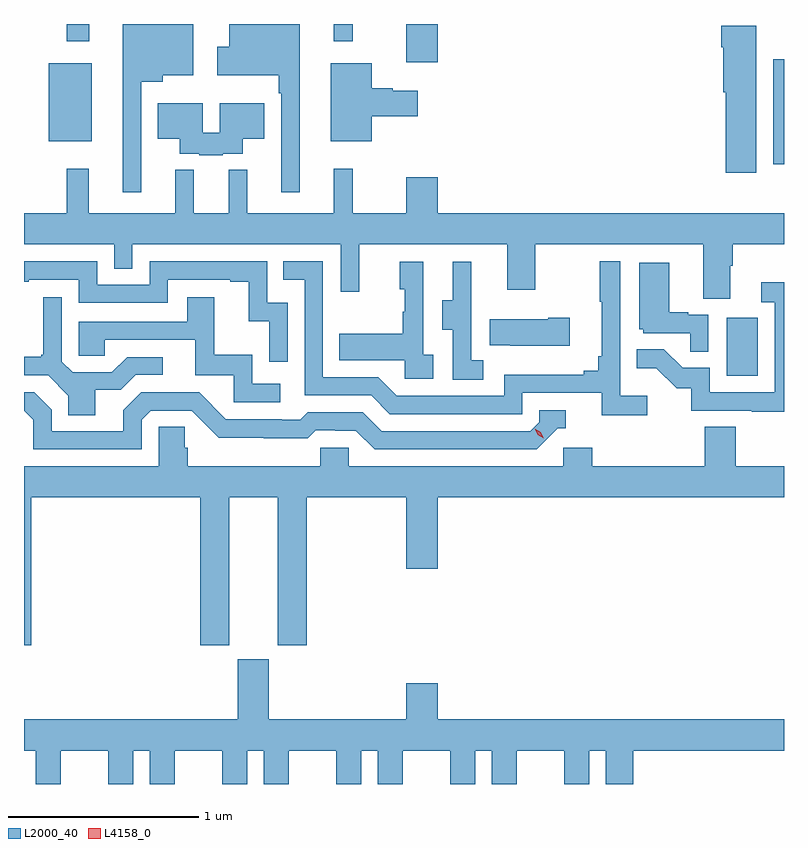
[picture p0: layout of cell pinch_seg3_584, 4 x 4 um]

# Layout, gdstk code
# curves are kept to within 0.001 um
import gdstk
lib = gdstk.Library(unit=1e-6, precision=1e-09)
def R(c, l, rs):  # rectangles x0, y0, x1, y1
    for r in rs: c.add(gdstk.rectangle(r[:2], r[2:], *l))
def P(c, l, *ps):  # polygons
    for p in ps: c.add(gdstk.Polygon(p, *l))
L2000_40 = (2000, 40)
L4158_0 = (4158, 0)

pinch_seg3_584 = lib.new_cell('pinch_seg3_584')
R(pinch_seg3_584, L2000_40, [(1065.794,696.228,1065.958,696.535), (1066.038,697.342,1066.095,697.894), (1062.224,697.463,1062.451,697.873), (1064.108,697.878,1064.272,698.08), (1062.319,697.989,1062.438,698.08), (1063.724,697.989,1063.826,698.08)])
P(pinch_seg3_584, L2000_40, [(1062.711,697.775),(1062.826,697.775),(1062.826,697.811),(1062.985,697.811),(1062.985,698.08),(1062.614,698.08),(1062.614,697.194),(1062.711,697.194)],
  [(1063.546,698.08),(1063.175,698.08),(1063.175,697.959),(1063.112,697.959),(1063.112,697.811),(1063.437,697.811),(1063.437,697.715),(1063.449,697.715),(1063.449,697.194),(1063.546,697.194)],
  [(1065.949,698.071),(1065.764,698.071),(1065.764,697.958),(1065.776,697.958),(1065.776,697.722),(1065.788,697.722),(1065.788,697.296),(1065.949,697.296)],
  [(1063.924,697.595),(1064.167,697.595),(1064.167,697.729),(1064.037,697.729),(1064.037,697.742),(1063.924,697.742),(1063.924,697.873),(1063.709,697.873),(1063.709,697.463),(1063.924,697.463)],
  [(1063.142,697.398),(1063.246,697.398),(1063.246,697.475),(1063.36,697.475),(1063.36,697.663),(1063.124,697.663),(1063.124,697.507),(1063.036,697.507),(1063.036,697.663),(1062.8,697.663),(1062.8,697.475),(1062.914,697.475),(1062.914,697.398),(1063.018,697.398),(1063.018,697.388),(1063.142,697.388)],
  [(1064.272,697.273),(1064.108,697.273),(1064.108,697.084),(1063.826,697.084),(1063.826,697.318),(1063.724,697.318),(1063.724,697.084),(1063.271,697.084),(1063.271,697.313),(1063.172,697.313),(1063.172,697.084),(1062.988,697.084),(1062.988,697.313),(1062.89,697.313),(1062.89,697.084),(1062.437,697.084),(1062.437,697.318),(1062.319,697.318),(1062.319,697.084),(1062.095,697.084),(1062.095,696.92),(1062.57,696.92),(1062.57,696.793),(1062.666,696.793),(1062.666,696.92),(1063.761,696.92),(1063.761,696.672),(1063.859,696.672),(1063.859,696.92),(1064.639,696.92),(1064.639,696.681),(1064.787,696.681),(1064.787,696.92),(1065.671,696.92),(1065.671,696.634),(1065.811,696.634),(1065.811,696.808),(1065.824,696.808),(1065.824,696.92),(1066.095,696.92),(1066.095,697.084),(1064.272,697.084)],
  [(1065.376,696.124),(1065.234,696.124),(1065.234,696.832),(1065.126,696.832),(1065.126,696.619),(1065.137,696.619),(1065.137,696.331),(1065.118,696.331),(1065.118,696.254),(1065.041,696.254),(1065.041,696.235),(1064.622,696.235),(1064.622,696.123),(1064.058,696.123),(1063.959,696.222),(1063.668,696.222),(1063.668,696.831),(1063.459,696.831),(1063.459,696.735),(1063.572,696.735),(1063.572,696.126),(1063.922,696.126),(1064.021,696.027),(1064.718,696.027),(1064.718,696.138),(1065.137,696.138),(1065.137,696.022),(1065.376,696.022)],
  [(1063.482,696.612),(1063.374,696.612),(1063.374,696.831),(1062.756,696.831),(1062.756,696.708),(1062.48,696.708),(1062.48,696.831),(1062.095,696.831),(1062.095,696.723),(1062.121,696.723),(1062.121,696.735),(1062.384,696.735),(1062.384,696.612),(1062.852,696.612),(1062.852,696.735),(1063.181,696.735),(1063.181,696.723),(1063.277,696.723),(1063.277,696.515),(1063.386,696.515),(1063.386,696.303),(1063.482,696.303)],
  [(1064.512,696.311),(1064.448,696.311),(1064.448,696.615),(1064.45,696.615),(1064.45,696.829),(1064.351,696.829),(1064.351,696.627),(1064.297,696.627),(1064.297,696.472),(1064.352,696.472),(1064.352,696.208),(1064.512,696.208)],
  [(1064.248,696.338),(1064.196,696.338),(1064.196,696.829),(1064.072,696.829),(1064.072,696.684),(1064.098,696.684),(1064.098,696.566),(1064.088,696.566),(1064.088,696.451),(1063.753,696.451),(1063.753,696.311),(1064.1,696.311),(1064.1,696.213),(1064.248,696.213)],
  [(1065.696,696.549),(1065.59,696.549),(1065.59,696.562),(1065.49,696.562),(1065.49,696.823),(1065.332,696.823),(1065.332,696.474),(1065.354,696.474),(1065.354,696.453),(1065.601,696.453),(1065.601,696.355),(1065.696,696.355)],
  [(1066.095,696.721),(1065.975,696.721),(1065.975,696.615),(1066.047,696.615),(1066.047,696.141),(1065.705,696.141),(1065.705,696.27),(1065.561,696.27),(1065.463,696.368),(1065.319,696.368),(1065.319,696.269),(1065.423,696.269),(1065.53,696.162),(1065.607,696.162),(1065.607,696.045),(1065.925,696.045),(1065.925,696.04),(1066.095,696.04)],
  [(1063.444,696.186),(1063.296,696.186),(1063.296,696.34),(1063.097,696.34),(1063.097,696.643),(1062.953,696.643),(1062.953,696.513),(1062.384,696.513),(1062.384,696.333),(1062.521,696.333),(1062.521,696.417),(1062.995,696.417),(1062.995,696.231),(1063.2,696.231),(1063.2,696.09),(1063.444,696.09)],
  [(1062.469,696.154),(1062.604,696.154),(1062.684,696.234),(1062.826,696.234),(1062.826,696.327),(1062.638,696.327),(1062.557,696.246),(1062.351,696.246),(1062.294,696.303),(1062.294,696.643),(1062.197,696.643),(1062.197,696.34),(1062.186,696.34),(1062.186,696.328),(1062.095,696.328),(1062.095,696.231),(1062.222,696.231),(1062.329,696.124),(1062.329,696.022),(1062.469,696.022)],
  [(1064.968,696.534),(1064.855,696.534),(1064.855,696.526),(1064.545,696.526),(1064.545,696.389),(1064.653,696.389),(1064.653,696.386),(1064.968,696.386)],
  [(1062.714,695.997),(1062.762,696.045),(1062.978,696.045),(1063.12,695.903),(1063.356,695.903),(1063.356,695.901),(1063.589,695.901),(1063.631,695.943),(1063.734,695.943),(1063.734,695.94),(1063.841,695.94),(1063.94,695.841),(1064.793,695.841),(1064.904,695.952),(1064.947,695.952),(1064.947,696.048),(1064.808,696.048),(1064.808,695.985),(1064.76,695.937),(1063.977,695.937),(1063.878,696.036),(1063.589,696.036),(1063.55,695.997),(1063.451,695.997),(1063.451,696),(1063.158,696),(1063.017,696.141),(1062.711,696.141),(1062.617,696.047),(1062.617,695.937),(1062.24,695.937),(1062.24,696.051),(1062.15,696.141),(1062.095,696.141),(1062.095,696.045),(1062.144,695.997),(1062.144,695.841),(1062.714,695.841)],
  [(1066.095,695.752),(1065.842,695.752),(1065.842,695.96),(1065.677,695.96),(1065.677,695.752),(1065.086,695.752),(1065.086,695.85),(1064.934,695.85),(1064.934,695.752),(1063.803,695.752),(1063.803,695.85),(1063.653,695.85),(1063.653,695.752),(1062.956,695.752),(1062.956,695.85),(1062.941,695.85),(1062.941,695.96),(1062.804,695.96),(1062.804,695.752),(1062.095,695.752),(1062.095,694.809),(1062.134,694.809),(1062.134,695.588),(1063.022,695.588),(1063.022,694.809),(1063.174,694.809),(1063.174,695.588),(1063.43,695.588),(1063.43,694.809),(1063.583,694.809),(1063.583,695.588),(1064.108,695.588),(1064.108,695.214),(1064.272,695.214),(1064.272,695.588),(1066.095,695.588)],
  [(1062.289,694.256),(1062.539,694.256),(1062.539,694.08),(1062.67,694.08),(1062.67,694.256),(1062.758,694.256),(1062.758,694.08),(1062.889,694.08),(1062.889,694.256),(1063.139,694.256),(1063.139,694.08),(1063.27,694.08),(1063.27,694.256),(1063.358,694.256),(1063.358,694.08),(1063.489,694.08),(1063.489,694.256),(1063.739,694.256),(1063.739,694.08),(1063.87,694.08),(1063.87,694.256),(1063.958,694.256),(1063.958,694.08),(1064.089,694.08),(1064.089,694.256),(1064.339,694.256),(1064.339,694.08),(1064.47,694.08),(1064.47,694.256),(1064.558,694.256),(1064.558,694.08),(1064.689,694.08),(1064.689,694.256),(1064.939,694.256),(1064.939,694.08),(1065.07,694.08),(1065.07,694.256),(1065.158,694.256),(1065.158,694.08),(1065.302,694.08),(1065.302,694.256),(1066.095,694.256),(1066.095,694.42),(1064.272,694.42),(1064.272,694.609),(1064.108,694.609),(1064.108,694.42),(1063.384,694.42),(1063.384,694.737),(1063.22,694.737),(1063.22,694.42),(1062.095,694.42),(1062.095,694.256),(1062.158,694.256),(1062.158,694.08),(1062.289,694.08)])
P(pinch_seg3_584, L4158_0, [(1064.831,695.899),(1064.8,695.917),(1064.783,695.95),(1064.783,695.95),(1064.783,695.95),(1064.814,695.931),(1064.831,695.899),(1064.831,695.899)])

lib.write_gds('pinch_seg3_584.gds')
